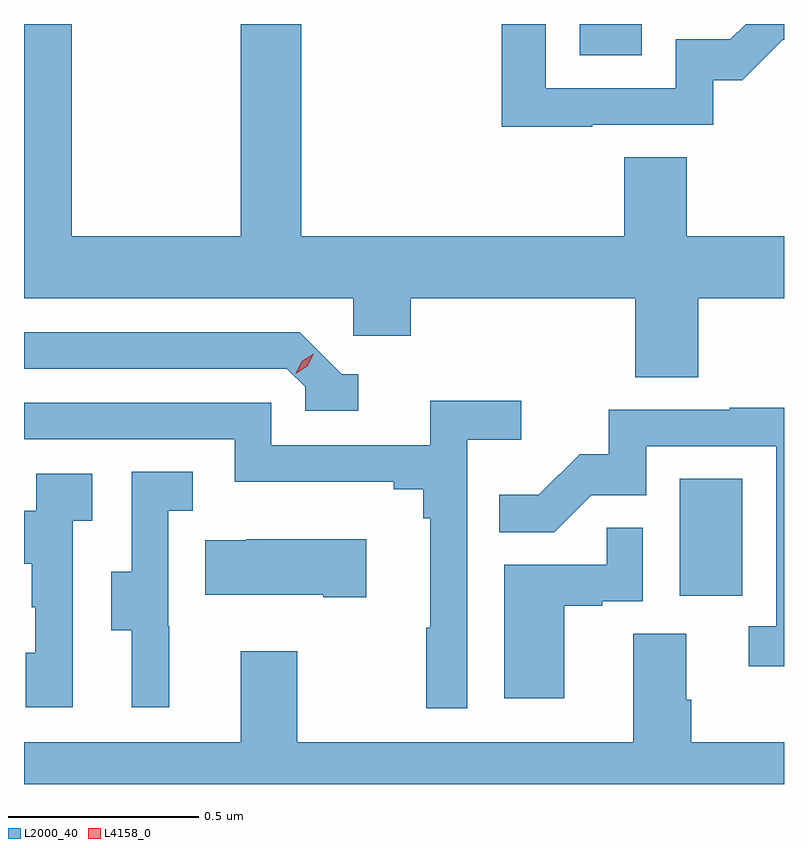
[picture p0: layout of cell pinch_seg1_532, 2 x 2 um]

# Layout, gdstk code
import gdstk
lib = gdstk.Library(unit=1e-6, precision=1e-09)
def R(c, l, rs):  # rectangles x0, y0, x1, y1
    for r in rs: c.add(gdstk.rectangle(r[:2], r[2:], *l))
def P(c, l, *ps):  # polygons
    for p in ps: c.add(gdstk.Polygon(p, *l))
L2000_40 = (2000, 40)
L4158_0 = (4158, 0)

pinch_seg1_532 = lib.new_cell('pinch_seg1_532')
R(pinch_seg1_532, L2000_40, [(1061.798,540.294,1061.962,540.601), (1061.534,541.716,1061.698,541.798)])
P(pinch_seg1_532, L2000_40, [(1061.846,541.076),(1062.072,541.076),(1062.072,541.24),(1061.816,541.24),(1061.816,541.448),(1061.651,541.448),(1061.651,541.24),(1060.802,541.24),(1060.802,541.798),(1060.642,541.798),(1060.642,541.24),(1060.197,541.24),(1060.197,541.798),(1060.072,541.798),(1060.072,541.076),(1060.938,541.076),(1060.938,540.978),(1061.09,540.978),(1061.09,541.076),(1061.681,541.076),(1061.681,540.868),(1061.846,540.868)],
  [(1061.567,541.533),(1061.886,541.533),(1061.886,541.65),(1061.962,541.65),(1062.069,541.757),(1062.072,541.757),(1062.072,541.798),(1061.971,541.798),(1061.931,541.758),(1061.787,541.758),(1061.787,541.629),(1061.445,541.629),(1061.445,541.798),(1061.329,541.798),(1061.329,541.528),(1061.567,541.528)],
  [(1060.951,540.876),(1060.908,540.876),(1060.797,540.987),(1060.072,540.987),(1060.072,540.891),(1060.764,540.891),(1060.812,540.843),(1060.812,540.78),(1060.951,540.78)],
  [(1061.238,540.704),(1061.38,540.704),(1061.38,540.806),(1061.141,540.806),(1061.141,540.69),(1060.722,540.69),(1060.722,540.801),(1060.072,540.801),(1060.072,540.705),(1060.626,540.705),(1060.626,540.593),(1061.045,540.593),(1061.045,540.574),(1061.122,540.574),(1061.122,540.497),(1061.141,540.497),(1061.141,540.209),(1061.13,540.209),(1061.13,539.997),(1061.238,539.997)],
  [(1062.072,540.788),(1061.929,540.788),(1061.929,540.783),(1061.611,540.783),(1061.611,540.666),(1061.534,540.666),(1061.427,540.559),(1061.323,540.559),(1061.323,540.46),(1061.467,540.46),(1061.565,540.558),(1061.709,540.558),(1061.709,540.687),(1062.051,540.687),(1062.051,540.213),(1061.979,540.213),(1061.979,540.108),(1062.072,540.108)],
  [(1060.454,540.213),(1060.452,540.213),(1060.452,540.517),(1060.516,540.517),(1060.516,540.62),(1060.356,540.62),(1060.356,540.357),(1060.301,540.357),(1060.301,540.202),(1060.355,540.202),(1060.355,540),(1060.454,540)],
  [(1060.2,540.491),(1060.252,540.491),(1060.252,540.615),(1060.104,540.615),(1060.104,540.517),(1060.072,540.517),(1060.072,540.377),(1060.092,540.377),(1060.092,540.263),(1060.102,540.263),(1060.102,540.144),(1060.076,540.144),(1060.076,540),(1060.2,540)],
  [(1061.494,540.267),(1061.594,540.267),(1061.594,540.279),(1061.7,540.279),(1061.7,540.473),(1061.605,540.473),(1061.605,540.375),(1061.336,540.375),(1061.336,540.024),(1061.494,540.024)],
  [(1060.972,540.442),(1060.657,540.442),(1060.657,540.439),(1060.549,540.439),(1060.549,540.296),(1060.859,540.296),(1060.859,540.289),(1060.972,540.289)],
  [(1062.072,539.908),(1061.828,539.908),(1061.828,540.02),(1061.815,540.02),(1061.815,540.194),(1061.675,540.194),(1061.675,539.908),(1060.791,539.908),(1060.791,540.148),(1060.643,540.148),(1060.643,539.908),(1060.072,539.908),(1060.072,539.798),(1062.072,539.798)])
P(pinch_seg1_532, L4158_0, [(1060.787,540.878),(1060.787,540.878),(1060.803,540.911),(1060.834,540.93),(1060.834,540.93),(1060.834,540.93),(1060.818,540.897),(1060.787,540.878)])

lib.write_gds('pinch_seg1_532.gds')
